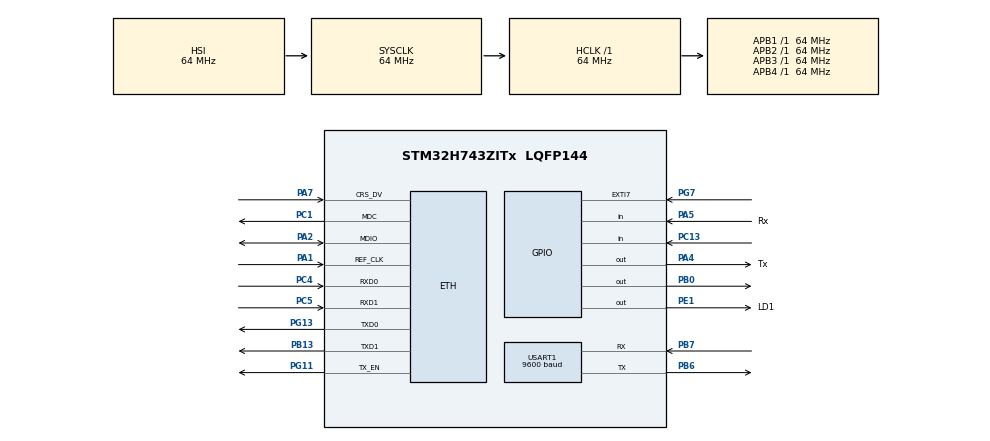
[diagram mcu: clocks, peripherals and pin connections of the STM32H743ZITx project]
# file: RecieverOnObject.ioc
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Dma.Request0=USART1_RX
Dma.Request1=USART1_TX
Dma.USART1_RX.0.Direction=DMA_PERIPH_TO_MEMORY
Dma.USART1_RX.0.EventEnable=DISABLE
Dma.USART1_RX.0.FIFOMode=DMA_FIFOMODE_DISABLE
Dma.USART1_RX.0.Instance=DMA1_Stream0
Dma.USART1_RX.0.MemDataAlignment=DMA_MDATAALIGN_BYTE
Dma.USART1_RX.0.MemInc=DMA_MINC_ENABLE
Dma.USART1_RX.0.Mode=DMA_NORMAL
Dma.USART1_RX.0.PeriphDataAlignment=DMA_PDATAALIGN_BYTE
Dma.USART1_RX.0.PeriphInc=DMA_PINC_DISABLE
Dma.USART1_RX.0.Polarity=HAL_DMAMUX_REQ_GEN_RISING
Dma.USART1_RX.0.Priority=DMA_PRIORITY_LOW
Dma.USART1_RX.0.RequestNumber=1
Dma.USART1_RX.0.SignalID=NONE
Dma.USART1_RX.0.SyncEnable=DISABLE
Dma.USART1_RX.0.SyncPolarity=HAL_DMAMUX_SYNC_NO_EVENT
Dma.USART1_RX.0.SyncRequestNumber=1
Dma.USART1_RX.0.SyncSignalID=NONE
Dma.USART1_TX.1.Direction=DMA_MEMORY_TO_PERIPH
Dma.USART1_TX.1.EventEnable=DISABLE
Dma.USART1_TX.1.FIFOMode=DMA_FIFOMODE_DISABLE
Dma.USART1_TX.1.Instance=DMA1_Stream1
Dma.USART1_TX.1.MemDataAlignment=DMA_MDATAALIGN_BYTE
Dma.USART1_TX.1.MemInc=DMA_MINC_ENABLE
Dma.USART1_TX.1.Mode=DMA_NORMAL
Dma.USART1_TX.1.PeriphDataAlignment=DMA_PDATAALIGN_BYTE
Dma.USART1_TX.1.PeriphInc=DMA_PINC_DISABLE
Dma.USART1_TX.1.Polarity=HAL_DMAMUX_REQ_GEN_RISING
Dma.USART1_TX.1.Priority=DMA_PRIORITY_LOW
Dma.USART1_TX.1.RequestNumber=1
Dma.USART1_TX.1.SignalID=NONE
Dma.USART1_TX.1.SyncEnable=DISABLE
Dma.USART1_TX.1.SyncPolarity=HAL_DMAMUX_SYNC_NO_EVENT
Dma.USART1_TX.1.SyncRequestNumber=1
Dma.USART1_TX.1.SyncSignalID=NONE
ETH.MediaInterface=HAL_ETH_RMII_MODE
Mcu.Family=STM32H7
Mcu.Name=STM32H743ZITx
Mcu.Package=LQFP144
NVIC.DMA1_Stream0_IRQn=true\:0\:0\:false\:false\:true\:false\:true
NVIC.DMA1_Stream1_IRQn=true\:0\:0\:false\:false\:true\:false\:true
NVIC.PriorityGroup=NVIC_PRIORITYGROUP_4
NVIC.TIM2_IRQn=true\:0\:0\:false\:false\:true\:false\:true
NVIC.TimeBase=TIM2_IRQn
NVIC.TimeBaseIP=TIM2
NVIC.USART1_IRQn=true\:0\:0\:false\:false\:true\:true\:true
PA1.Mode=RMII
PA1.Signal=ETH_REF_CLK
PA2.Mode=RMII
PA2.Signal=ETH_MDIO
PA4.GPIO_Label=Tx
PA4.GPIO_ModeDefaultOutputPP=GPIO_MODE_OUTPUT_PP
PA4.GPIO_PuPd=GPIO_NOPULL
PA4.GPIO_Speed=GPIO_SPEED_FREQ_LOW
PA4.PinState=GPIO_PIN_RESET
PA4.Signal=GPIO_Output
PA5.GPIO_Label=Rx
PA5.GPIO_Mode=GPIO_MODE_INPUT
PA5.GPIO_PuPd=GPIO_NOPULL
PA5.Signal=GPIO_Input
PA7.Mode=RMII
PA7.Signal=ETH_CRS_DV
PB0.GPIO_ModeDefaultOutputPP=GPIO_MODE_OUTPUT_PP
PB0.GPIO_PuPd=GPIO_NOPULL
PB0.GPIO_Speed=GPIO_SPEED_FREQ_LOW
PB0.PinState=GPIO_PIN_RESET
PB0.Signal=GPIO_Output
PB13.Mode=RMII
PB13.Signal=ETH_TXD1
PB6.GPIO_FM6=__NULL
PB6.GPIO_ModeDefaultPP=GPIO_MODE_AF_PP
PB6.GPIO_Speed=GPIO_SPEED_FREQ_HIGH
PB6.Mode=Asynchronous
PB6.Signal=USART1_TX
PB7.GPIO_ModeDefaultPP=GPIO_MODE_AF_PP
PB7.GPIO_Speed=GPIO_SPEED_FREQ_HIGH
PB7.Mode=Asynchronous
PB7.Signal=USART1_RX
PC1.Mode=RMII
PC1.Signal=ETH_MDC
PC13.GPIO_Mode=GPIO_MODE_INPUT
PC13.GPIO_PuPd=GPIO_NOPULL
PC13.Signal=GPIO_Input
PC14-OSC32_IN\ (OSC32_IN).Mode=LSE-External-Oscillator
PC14-OSC32_IN\ (OSC32_IN).Signal=RCC_OSC32_IN
PC15-OSC32_OUT\ (OSC32_OUT).Mode=LSE-External-Oscillator
PC15-OSC32_OUT\ (OSC32_OUT).Signal=RCC_OSC32_OUT
PC4.Mode=RMII
PC4.Signal=ETH_RXD0
PC5.Mode=RMII
PC5.Signal=ETH_RXD1
PD8.GPIO_ModeDefaultPP=GPIO_MODE_AF_PP
PD8.GPIO_PuPd=GPIO_NOPULL
PD8.GPIO_Speed=GPIO_SPEED_FREQ_LOW
PD8.Signal=USART3_TX
PE1.GPIO_Label=LD1
PE1.GPIO_ModeDefaultOutputPP=GPIO_MODE_OUTPUT_PP
PE1.GPIO_PuPd=GPIO_NOPULL
PE1.GPIO_Speed=GPIO_SPEED_FREQ_LOW
PE1.PinState=GPIO_PIN_RESET
PE1.Signal=GPIO_Output
PG11.Mode=RMII
PG11.Signal=ETH_TX_EN
PG13.Mode=RMII
PG13.Signal=ETH_TXD0
PG7.GPIO_ModeDefaultEXTI=GPIO_MODE_IT_RISING
PG7.GPIO_PuPd=GPIO_NOPULL
PG7.Signal=GPXTI7
PH0-OSC_IN\ (PH0).Mode=HSE-External-Clock-Source
PH0-OSC_IN\ (PH0).Signal=RCC_OSC_IN
PH1-OSC_OUT\ (PH1).Signal=RCC_OSC_OUT
ProjectManager.HeapSize=0x200
ProjectManager.StackSize=0x400
ProjectManager.TargetToolchain=STM32CubeIDE
RCC.ADCFreq_Value=16125000
RCC.APB1Freq_Value=64000000
RCC.APB2Freq_Value=64000000
RCC.APB3Freq_Value=64000000
RCC.APB4Freq_Value=64000000
RCC.CortexFreq_Value=64000000
RCC.DIVM1=1
RCC.DIVN1=24
RCC.DIVQ1=4
RCC.HCLKFreq_Value=64000000
RCC.HSE_VALUE=8000000
RCC.PLLFRACN=0
RCC.PLLSourceVirtual=RCC_PLLSOURCE_HSE
RCC.SYSCLKFreq_VALUE=64000000
RCC.USBFreq_Value=48000000
USART1.BaudRate=9600
USART1.FIFOMode=FIFOMODE_DISABLE
USART1.VirtualMode-Asynchronous=VM_ASYNC
VP_SYS_VS_tim2.Mode=TIM2
VP_TIM1_VS_ClockSourceINT.Mode=Internal
board=NUCLEO-H743ZI2

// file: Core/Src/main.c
/* USER CODE BEGIN Header */
/**
  ******************************************************************************
  * @file           : main.c
  * @brief          : Main program body
  ******************************************************************************
  * @attention
  *
  * <h2><center>&copy; Copyright (c) 2020 STMicroelectronics.
  * All rights reserved.</center></h2>
  *
  * This software component is licensed by ST under BSD 3-Clause license,
  * the "License"; You may not use this file except in compliance with the
  * License. You may obtain a copy of the License at:
  *                        opensource.org/licenses/BSD-3-Clause
  *
  ******************************************************************************
  */
/* USER CODE END Header */

#include "main.h"
#include "string.h"

/* USER CODE BEGIN Includes */
#include "stdio.h"
#include "stdlib.h"

/* USER CODE END Includes */

#if defined ( __ICCARM__ ) /*!< IAR Compiler */

#pragma location=0x30040000
ETH_DMADescTypeDef  DMARxDscrTab[ETH_RX_DESC_CNT]; /* Ethernet Rx DMA Descriptors */
#pragma location=0x30040060
ETH_DMADescTypeDef  DMATxDscrTab[ETH_TX_DESC_CNT]; /* Ethernet Tx DMA Descriptors */
#pragma location=0x30040200
uint8_t Rx_Buff[ETH_RX_DESC_CNT][ETH_MAX_PACKET_SIZE]; /* Ethernet Receive Buffers */

#elif defined ( __CC_ARM )  /* MDK ARM Compiler */

__attribute__((at(0x30040000))) ETH_DMADescTypeDef  DMARxDscrTab[ETH_RX_DESC_CNT]; /* Ethernet Rx DMA Descriptors */
__attribute__((at(0x30040060))) ETH_DMADescTypeDef  DMATxDscrTab[ETH_TX_DESC_CNT]; /* Ethernet Tx DMA Descriptors */
__attribute__((at(0x30040200))) uint8_t Rx_Buff[ETH_RX_DESC_CNT][ETH_MAX_PACKET_SIZE]; /* Ethernet Receive Buffer */

#elif defined ( __GNUC__ ) /* GNU Compiler */

ETH_DMADescTypeDef DMARxDscrTab[ETH_RX_DESC_CNT] __attribute__((section(".RxDecripSection"))); /* Ethernet Rx DMA Descriptors */
ETH_DMADescTypeDef DMATxDscrTab[ETH_TX_DESC_CNT] __attribute__((section(".TxDecripSection")));   /* Ethernet Tx DMA Descriptors */
uint8_t Rx_Buff[ETH_RX_DESC_CNT][ETH_MAX_PACKET_SIZE] __attribute__((section(".RxArraySection"))); /* Ethernet Receive Buffers */

#endif

ETH_TxPacketConfig TxConfig;

ETH_HandleTypeDef heth;

TIM_HandleTypeDef htim1;

UART_HandleTypeDef huart1;
DMA_HandleTypeDef hdma_usart1_rx;
DMA_HandleTypeDef hdma_usart1_tx;

void SystemClock_Config(void);
static void MX_GPIO_Init(void);
static void MX_DMA_Init(void);
static void MX_ETH_Init(void);
static void MX_TIM1_Init(void);
static void MX_USART1_UART_Init(void);

/* USER CODE BEGIN 0 */

void SendMess(char *Message){

	  uint8_t tmp[strlen(Message)];

		int i;
		for(i=0;i < strlen(Message);i++){

			tmp[i] = (uint8_t)(Message[i]);
		}
		HAL_UART_Transmit(&huart1, tmp, sizeof(tmp)/sizeof(uint8_t), HAL_MAX_DELAY);
		  HAL_GPIO_WritePin(LD1_GPIO_Port, LD1_Pin, SET);
		HAL_Delay(1000);

}
/* USER CODE END 0 */

int main(void)
{
  /* USER CODE BEGIN 1 */
/*char buf[100];*/
	uint8_t call =0;
	char *send;
	// HAL_StatusTypeDef error;

  /* USER CODE END 1 */

  /* MCU Configuration--------------------------------------------------------*/

  /* Reset of all peripherals, Initializes the Flash interface and the Systick. */
  HAL_Init();

  /* Configure the system clock */
  SystemClock_Config();

  /* Initialize all configured peripherals */
  MX_GPIO_Init();
  MX_DMA_Init();
  MX_ETH_Init();
  MX_TIM1_Init();
  MX_USART1_UART_Init();

  /* Infinite loop */
  /* USER CODE BEGIN WHILE */

  while (1)
  {
//		establish connection

	  switch(call)
	  {
	  case 0:
	  HAL_GPIO_WritePin(LD1_GPIO_Port, LD1_Pin, RESET);
	  HAL_UART_Receive_DMA(&huart1, &call, 1);
	  break;
	  case 65:
		  send = "B";
	  SendMess(send);
	  call = 0;
	  break;
	  case 66:
		  send = "C\n";
	  SendMess(send);
	  call = 0;
	  break;
	  case 67:
		  send = "C\n";
	  SendMess(send);
	  call = 0;
	  break;
	  case 68:
		  send = "D\n";
	  SendMess(send);
	  call = 0;
	  break;
	  case 69:
		  send = "E:54C\n";
	  SendMess(send);
	  call = 0;
	  break;
	  case 70:
		  send = "F\n";
	  SendMess(send);
	  call = 0;
	  break;
	  case 71:
		  send = "G\n";
	  SendMess(send);
	  call = 0;
	  break;
	  default:
	  send = "Wrong system call\n";
	  SendMess(send);
	  call = 0;
	  }

    /* USER CODE END WHILE */

  }
}

void SystemClock_Config(void)
{
  RCC_OscInitTypeDef RCC_OscInitStruct = {0};
  RCC_ClkInitTypeDef RCC_ClkInitStruct = {0};
  RCC_PeriphCLKInitTypeDef PeriphClkInitStruct = {0};

  /** Supply configuration update enable
  */
  HAL_PWREx_ConfigSupply(PWR_LDO_SUPPLY);
  /** Configure the main internal regulator output voltage
  */
  __HAL_PWR_VOLTAGESCALING_CONFIG(PWR_REGULATOR_VOLTAGE_SCALE3);

  while(!__HAL_PWR_GET_FLAG(PWR_FLAG_VOSRDY)) {}
  /** Initializes the CPU, AHB and APB busses clocks
  */
  RCC_OscInitStruct.OscillatorType = RCC_OSCILLATORTYPE_HSI;
  RCC_OscInitStruct.HSIState = RCC_HSI_DIV1;
  RCC_OscInitStruct.HSICalibrationValue = RCC_HSICALIBRATION_DEFAULT;
  RCC_OscInitStruct.PLL.PLLState = RCC_PLL_NONE;
  if (HAL_RCC_OscConfig(&RCC_OscInitStruct) != HAL_OK)
  {
    Error_Handler();
  }
  /** Initializes the CPU, AHB and APB busses clocks
  */
  RCC_ClkInitStruct.ClockType = RCC_CLOCKTYPE_HCLK|RCC_CLOCKTYPE_SYSCLK
                              |RCC_CLOCKTYPE_PCLK1|RCC_CLOCKTYPE_PCLK2
                              |RCC_CLOCKTYPE_D3PCLK1|RCC_CLOCKTYPE_D1PCLK1;
  RCC_ClkInitStruct.SYSCLKSource = RCC_SYSCLKSOURCE_HSI;
  RCC_ClkInitStruct.SYSCLKDivider = RCC_SYSCLK_DIV1;
  RCC_ClkInitStruct.AHBCLKDivider = RCC_HCLK_DIV1;
  RCC_ClkInitStruct.APB3CLKDivider = RCC_APB3_DIV1;
  RCC_ClkInitStruct.APB1CLKDivider = RCC_APB1_DIV1;
  RCC_ClkInitStruct.APB2CLKDivider = RCC_APB2_DIV1;
  RCC_ClkInitStruct.APB4CLKDivider = RCC_APB4_DIV1;

  if (HAL_RCC_ClockConfig(&RCC_ClkInitStruct, FLASH_LATENCY_0) != HAL_OK)
  {
    Error_Handler();
  }
  PeriphClkInitStruct.PeriphClockSelection = RCC_PERIPHCLK_USART1;
  PeriphClkInitStruct.Usart16ClockSelection = RCC_USART16CLKSOURCE_D2PCLK2;
  if (HAL_RCCEx_PeriphCLKConfig(&PeriphClkInitStruct) != HAL_OK)
  {
    Error_Handler();
  }
}

static void MX_ETH_Init(void)
{

  heth.Instance = ETH;
  heth.Init.MACAddr[0] =   0x00;
  heth.Init.MACAddr[1] =   0x80;
  heth.Init.MACAddr[2] =   0xE1;
  heth.Init.MACAddr[3] =   0x00;
  heth.Init.MACAddr[4] =   0x00;
  heth.Init.MACAddr[5] =   0x00;
  heth.Init.MediaInterface = HAL_ETH_RMII_MODE;
  heth.Init.TxDesc = DMATxDscrTab;
  heth.Init.RxDesc = DMARxDscrTab;
  heth.Init.RxBuffLen = 1524;

  if (HAL_ETH_Init(&heth) != HAL_OK)
  {
    Error_Handler();
  }

  memset(&TxConfig, 0 , sizeof(ETH_TxPacketConfig));
  TxConfig.Attributes = ETH_TX_PACKETS_FEATURES_CSUM | ETH_TX_PACKETS_FEATURES_CRCPAD;
  TxConfig.ChecksumCtrl = ETH_CHECKSUM_IPHDR_PAYLOAD_INSERT_PHDR_CALC;
  TxConfig.CRCPadCtrl = ETH_CRC_PAD_INSERT;

}

static void MX_TIM1_Init(void)
{

  TIM_ClockConfigTypeDef sClockSourceConfig = {0};
  TIM_MasterConfigTypeDef sMasterConfig = {0};

  htim1.Instance = TIM1;
  htim1.Init.Prescaler = 0;
  htim1.Init.CounterMode = TIM_COUNTERMODE_UP;
  htim1.Init.Period = 0;
  htim1.Init.ClockDivision = TIM_CLOCKDIVISION_DIV1;
  htim1.Init.RepetitionCounter = 0;
  htim1.Init.AutoReloadPreload = TIM_AUTORELOAD_PRELOAD_DISABLE;
  if (HAL_TIM_Base_Init(&htim1) != HAL_OK)
  {
    Error_Handler();
  }
  sClockSourceConfig.ClockSource = TIM_CLOCKSOURCE_INTERNAL;
  if (HAL_TIM_ConfigClockSource(&htim1, &sClockSourceConfig) != HAL_OK)
  {
    Error_Handler();
  }
  sMasterConfig.MasterOutputTrigger = TIM_TRGO_RESET;
  sMasterConfig.MasterOutputTrigger2 = TIM_TRGO2_RESET;
  sMasterConfig.MasterSlaveMode = TIM_MASTERSLAVEMODE_DISABLE;
  if (HAL_TIMEx_MasterConfigSynchronization(&htim1, &sMasterConfig) != HAL_OK)
  {
    Error_Handler();
  }

}

static void MX_USART1_UART_Init(void)
{

  huart1.Instance = USART1;
  huart1.Init.BaudRate = 9600;
  huart1.Init.WordLength = UART_WORDLENGTH_8B;
  huart1.Init.StopBits = UART_STOPBITS_1;
  huart1.Init.Parity = UART_PARITY_NONE;
  huart1.Init.Mode = UART_MODE_TX_RX;
  huart1.Init.HwFlowCtl = UART_HWCONTROL_NONE;
  huart1.Init.OverSampling = UART_OVERSAMPLING_16;
  huart1.Init.OneBitSampling = UART_ONE_BIT_SAMPLE_DISABLE;
  huart1.Init.ClockPrescaler = UART_PRESCALER_DIV1;
  huart1.AdvancedInit.AdvFeatureInit = UART_ADVFEATURE_NO_INIT;
  if (HAL_UART_Init(&huart1) != HAL_OK)
  {
    Error_Handler();
  }
  if (HAL_UARTEx_SetTxFifoThreshold(&huart1, UART_TXFIFO_THRESHOLD_1_8) != HAL_OK)
  {
    Error_Handler();
  }
  if (HAL_UARTEx_SetRxFifoThreshold(&huart1, UART_RXFIFO_THRESHOLD_1_8) != HAL_OK)
  {
    Error_Handler();
  }
  if (HAL_UARTEx_DisableFifoMode(&huart1) != HAL_OK)
  {
    Error_Handler();
  }

}

static void MX_DMA_Init(void)
{

  /* DMA controller clock enable */
  __HAL_RCC_DMA1_CLK_ENABLE();

  /* DMA interrupt init */
  /* DMA1_Stream0_IRQn interrupt configuration */
  HAL_NVIC_SetPriority(DMA1_Stream0_IRQn, 0, 0);
  HAL_NVIC_EnableIRQ(DMA1_Stream0_IRQn);
  /* DMA1_Stream1_IRQn interrupt configuration */
  HAL_NVIC_SetPriority(DMA1_Stream1_IRQn, 0, 0);
  HAL_NVIC_EnableIRQ(DMA1_Stream1_IRQn);

}

static void MX_GPIO_Init(void)
{
  GPIO_InitTypeDef GPIO_InitStruct = {0};

  /* GPIO Ports Clock Enable */
  __HAL_RCC_GPIOC_CLK_ENABLE();
  __HAL_RCC_GPIOH_CLK_ENABLE();
  __HAL_RCC_GPIOA_CLK_ENABLE();
  __HAL_RCC_GPIOB_CLK_ENABLE();
  __HAL_RCC_GPIOD_CLK_ENABLE();
  __HAL_RCC_GPIOG_CLK_ENABLE();
  __HAL_RCC_GPIOE_CLK_ENABLE();

  /*Configure GPIO pin Output Level */
  HAL_GPIO_WritePin(Tx_GPIO_Port, Tx_Pin, GPIO_PIN_RESET);

  /*Configure GPIO pin Output Level */
  HAL_GPIO_WritePin(GPIOB, GPIO_PIN_0, GPIO_PIN_RESET);

  /*Configure GPIO pin Output Level */
  HAL_GPIO_WritePin(LD1_GPIO_Port, LD1_Pin, GPIO_PIN_RESET);

  /*Configure GPIO pin : PC13 */
  GPIO_InitStruct.Pin = GPIO_PIN_13;
  GPIO_InitStruct.Mode = GPIO_MODE_INPUT;
  GPIO_InitStruct.Pull = GPIO_NOPULL;
  HAL_GPIO_Init(GPIOC, &GPIO_InitStruct);

  /*Configure GPIO pin : Tx_Pin */
  GPIO_InitStruct.Pin = Tx_Pin;
  GPIO_InitStruct.Mode = GPIO_MODE_OUTPUT_PP;
  GPIO_InitStruct.Pull = GPIO_NOPULL;
  GPIO_InitStruct.Speed = GPIO_SPEED_FREQ_LOW;
  HAL_GPIO_Init(Tx_GPIO_Port, &GPIO_InitStruct);

  /*Configure GPIO pin : Rx_Pin */
  GPIO_InitStruct.Pin = Rx_Pin;
  GPIO_InitStruct.Mode = GPIO_MODE_INPUT;
  GPIO_InitStruct.Pull = GPIO_NOPULL;
  HAL_GPIO_Init(Rx_GPIO_Port, &GPIO_InitStruct);

  /*Configure GPIO pin : PB0 */
  GPIO_InitStruct.Pin = GPIO_PIN_0;
  GPIO_InitStruct.Mode = GPIO_MODE_OUTPUT_PP;
  GPIO_InitStruct.Pull = GPIO_NOPULL;
  GPIO_InitStruct.Speed = GPIO_SPEED_FREQ_LOW;
  HAL_GPIO_Init(GPIOB, &GPIO_InitStruct);

  /*Configure GPIO pin : PD8 */
  GPIO_InitStruct.Pin = GPIO_PIN_8;
  GPIO_InitStruct.Mode = GPIO_MODE_AF_PP;
  GPIO_InitStruct.Pull = GPIO_NOPULL;
  GPIO_InitStruct.Speed = GPIO_SPEED_FREQ_LOW;
  GPIO_InitStruct.Alternate = GPIO_AF7_USART3;
  HAL_GPIO_Init(GPIOD, &GPIO_InitStruct);

  /*Configure GPIO pin : PG7 */
  GPIO_InitStruct.Pin = GPIO_PIN_7;
  GPIO_InitStruct.Mode = GPIO_MODE_IT_RISING;
  GPIO_InitStruct.Pull = GPIO_NOPULL;
  HAL_GPIO_Init(GPIOG, &GPIO_InitStruct);

  /*Configure GPIO pin : LD1_Pin */
  GPIO_InitStruct.Pin = LD1_Pin;
  GPIO_InitStruct.Mode = GPIO_MODE_OUTPUT_PP;
  GPIO_InitStruct.Pull = GPIO_NOPULL;
  GPIO_InitStruct.Speed = GPIO_SPEED_FREQ_LOW;
  HAL_GPIO_Init(LD1_GPIO_Port, &GPIO_InitStruct);

}

 /**
  * @brief  Period elapsed callback in non blocking mode
  * @note   This function is called  when TIM2 interrupt took place, inside
  * HAL_TIM_IRQHandler(). It makes a direct call to HAL_IncTick() to increment
  * a global variable "uwTick" used as application time base.
  * @param  htim : TIM handle
  * @retval None
  */
void HAL_TIM_PeriodElapsedCallback(TIM_HandleTypeDef *htim)
{
  if (htim->Instance == TIM2) {
    HAL_IncTick();
  }
}

void Error_Handler(void)
{
  /* USER CODE BEGIN Error_Handler_Debug */
  /* User can add his own implementation to report the HAL error return state */
	HAL_GPIO_WritePin(LD1_GPIO_Port, LD1_Pin, SET);
	HAL_Delay(1000);
	HAL_GPIO_WritePin(LD1_GPIO_Port, LD1_Pin, RESET);
  /* USER CODE END Error_Handler_Debug */
}

/************************ (C) COPYRIGHT STMicroelectronics *****END OF FILE****/
